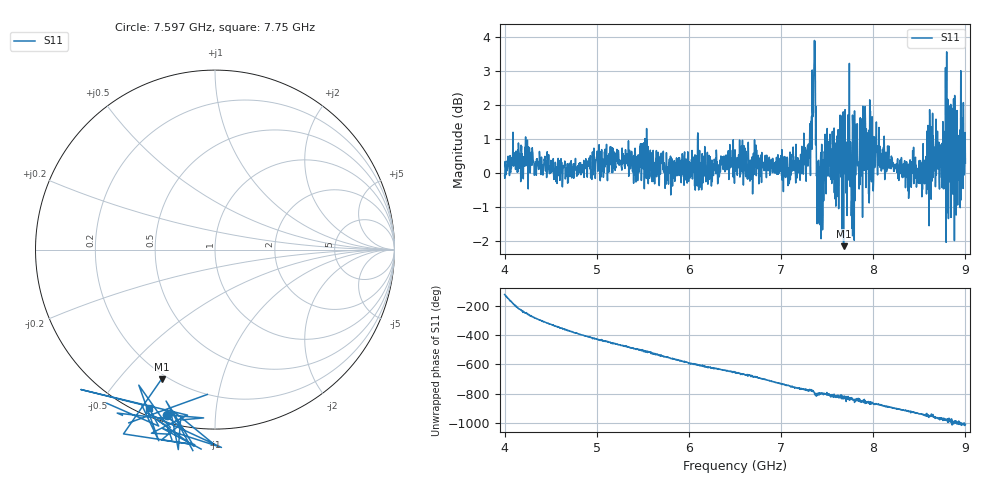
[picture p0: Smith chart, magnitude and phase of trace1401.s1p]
! Created with skrf 1.8.0 (http://scikit-rf.org).
# Hz S RI R 50.0
!freq ReS11 ImS11
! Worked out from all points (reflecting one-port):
!   1601 points, 4 GHz to 9 GHz, reference 50 ohm
!   lowest |S11| = -2.1 dB at 7.678 GHz (marker M1), VSWR 8.14, Z = 8.84 - j32.7 ohm
!   phase of S11 starts at -124 deg and turns -885 deg over the sweep
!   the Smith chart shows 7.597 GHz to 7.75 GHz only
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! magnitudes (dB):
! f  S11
! 4 GHz  -0.1
! 4.244 GHz  0.5
! 4.625 GHz  -0.4
! 5.25 GHz  0.4
! 5.875 GHz  0.1
! 6.5 GHz  0.7
! 7.125 GHz  0.3
! 7.297 GHz  0.9
! 7.356 GHz  3.0
! 7.409 GHz  -0.9
! 7.503 GHz  0.5
! 7.55 GHz  -0.3
! 7.603 GHz  -0.3
! 7.65 GHz  0.9
! 7.678 GHz  -2.1
! 7.75 GHz  -0.4
! 7.769 GHz  -1.7
! 7.788 GHz  -0.3
! 7.8 GHz  -0.8
! 8.038 GHz  0.6
! 8.375 GHz  -0.5
! 8.581 GHz  0.3
! 8.656 GHz  0.8
! 8.728 GHz  0.2
! 8.775 GHz  1.1
! 8.841 GHz  2.0
! 8.972 GHz  0.8
! 9 GHz  0.3
